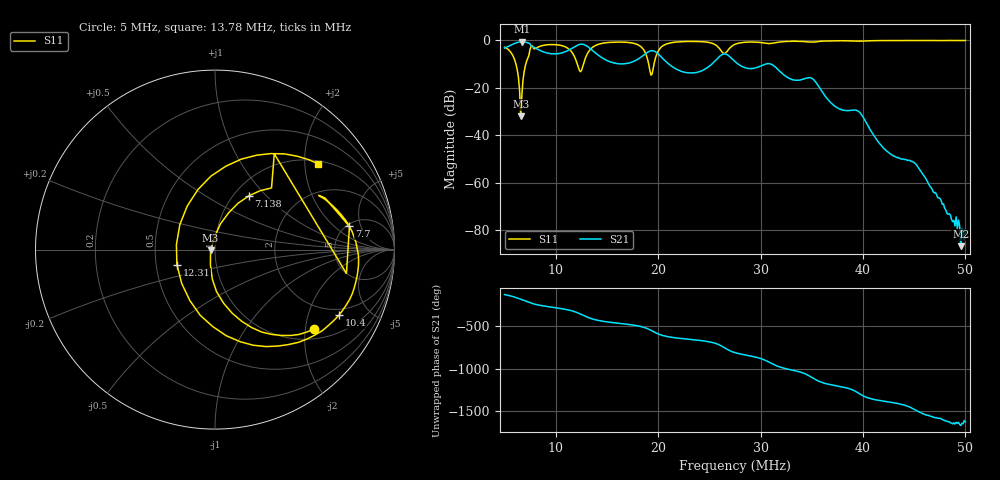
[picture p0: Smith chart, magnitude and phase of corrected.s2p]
! S11/S21 only; reverse parameters are placeholders. Device calibration unverified.
! [Saver CAL applied] C:\Users\aknya\MyProjects\rf-simulator\calibration2.cal | Ideal standards assumed | Input: NanoVNA F V2 profile | COM3 | 2026-09-08T11:43:18.7516990-04:00 | device calibration unverified
# HZ S RI R 50
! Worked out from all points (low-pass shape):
!   401 points, 5 MHz to 50 MHz, reference 50 ohm
!   highest |S21| = -0.65 dB at 6.688 MHz (marker M1); lowest = -86.6 dB at 49.55 MHz (marker M2)
!   |S21| within 3 dB of the highest: start of sweep to 8.132 MHz; 11.5 MHz to 13.39 MHz (1.893 MHz wide, 15.2 % of centre)
!   lowest |S11| = -32.0 dB at 6.575 MHz (marker M3), VSWR 1.05, Z = 47.6 - j0.427 ohm
!   |S11| at or under -10 dB: 6.102 MHz to 7.075 MHz (972.6 kHz wide, 14.8 % of centre); 12.09 MHz to 12.71 MHz (617.4 kHz wide, 4.98 % of centre); 19.07 MHz to 19.6 MHz (529.7 kHz wide, 2.74 % of centre)
!   S12 and S22 are empty: the file has one direction only
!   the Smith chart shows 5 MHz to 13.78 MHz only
!   S11 on the Smith chart (normalised r, x): 5 MHz: 1.25, -2.22; 7.138 MHz: 1.17, +0.80; 7.7 MHz: 5.29, +3.25; 10.4 MHz: 1.69, -3.18; 12.31 MHz: 0.64, -0.11; 13.78 MHz: 1.08, +2.34
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5000000  0.5502 -0.4441  -0.4052 -0.5468  0 0  0 0
6575000  -0.0246 -0.00449  -0.9233 0.0284  0 0  0 0
6687500  -0.00213 0.0719  -0.9209 0.1131  0 0  0 0
7137500  0.189 0.2995  -0.7958 0.4097  0 0  0 0
7700000  0.749 0.1295  -0.4599 0.571  0 0  0 0
1.04e7  0.6902 -0.3662  0.1757 0.4971  0 0  0 0
1.23125e7  -0.2123 -0.0837  0.7992 0.1326  0 0  0 0
1.25375e7  -0.196 0.1389  0.8192 -0.0452  0 0  0 0
1.3775e7  0.5763 0.4773  0.2756 -0.4852  0 0  0 0
1.625e7  0.8931 -0.163  -0.0867 -0.304  0 0  0 0
1.83875e7  0.3484 -0.6093  -0.3684 -0.2559  0 0  0 0
1.92875e7  -0.1823 -0.0196  -0.5923 0.0709  0 0  0 0
2.0075e7  0.4008 0.4768  -0.2962 0.3956  0 0  0 0
2.22125e7  0.9225 -0.0447  0.0497 0.2161  0 0  0 0
2.615e7  0.4686 -0.3631  0.4751 -0.0802  0 0  0 0
2.75e7  0.7923 -0.1914  0.000777 -0.3543  0 0  0 0
3.14375e7  0.751 -0.4572  -0.1426 0.2316  0 0  0 0
3.50375e7  0.6546 -0.6274  0.1422 -0.063  0 0  0 0
4.2575e7  0.4413 -0.8726  0.00275 0.0032  0 0  0 0
4.51625e7  0.3397 -0.9202  0.00171 -0.00181  0 0  0 0
4.955e7  0.169 -0.9654  -3.23e-05 3.36e-05  0 0  0 0
5e7  0.1581 -0.9686  -0.000103 7.21e-06  0 0  0 0
